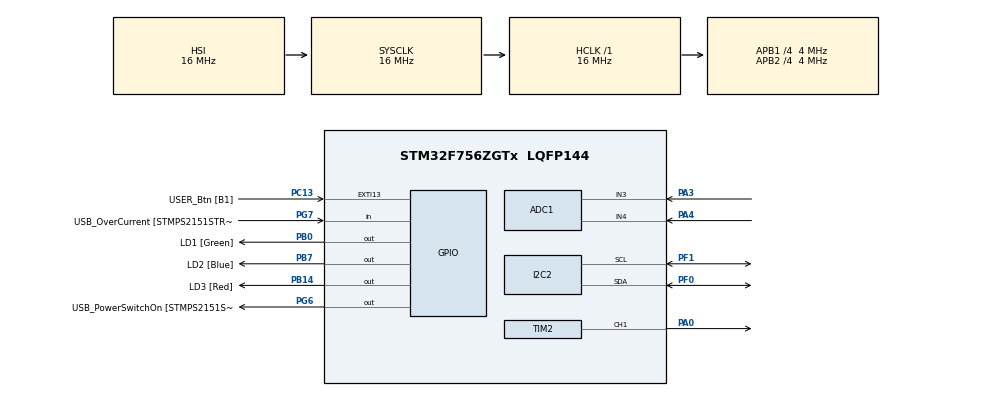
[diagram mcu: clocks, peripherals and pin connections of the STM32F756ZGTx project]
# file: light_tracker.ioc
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ADC1.Channel-0\#ChannelRegularConversion=ADC_CHANNEL_3
ADC1.Channel-2\#ChannelInjectedConversion=ADC_CHANNEL_3
ADC1.Channel-3\#ChannelInjectedConversion=ADC_CHANNEL_4
ADC1.EOCSelection=ADC_EOC_SEQ_CONV
ADC1.InjNumberOfConversion=2
ADC1.InjectedConvMode=Discontinuous
ADC1.InjectedOffset-2\#ChannelInjectedConversion=0
ADC1.InjectedOffset-3\#ChannelInjectedConversion=0
ADC1.InjectedRank-2\#ChannelInjectedConversion=1
ADC1.InjectedRank-3\#ChannelInjectedConversion=2
ADC1.NbrOfConversion=1
ADC1.NbrOfConversionFlag=1
ADC1.Rank-0\#ChannelRegularConversion=1
ADC1.SamplingTime-0\#ChannelRegularConversion=ADC_SAMPLETIME_3CYCLES
ADC1.SamplingTime-2\#ChannelInjectedConversion=ADC_SAMPLETIME_3CYCLES
ADC1.SamplingTime-3\#ChannelInjectedConversion=ADC_SAMPLETIME_3CYCLES
ADC1.ScanConvMode=ADC_SCAN_ENABLE
ADC1.master=1
I2C2.Timing=0x00000E14
Mcu.Family=STM32F7
Mcu.Name=STM32F756ZGTx
Mcu.Package=LQFP144
NVIC.ADC_IRQn=true\:0\:0\:false\:false\:true\:true\:true\:true
NVIC.PriorityGroup=NVIC_PRIORITYGROUP_4
NVIC.TIM2_IRQn=true\:0\:0\:false\:false\:true\:true\:true\:true
PA0/WKUP.Signal=S_TIM2_CH1_ETR
PA1.GPIO_Label=RMII_REF_CLK [LAN8742A-CZ-TR_REFCLK0]
PA1.Signal=ETH_REF_CLK
PA10.GPIO_Label=USB_ID
PA10.Signal=USB_OTG_FS_ID
PA11.GPIO_Label=USB_DM
PA11.Signal=USB_OTG_FS_DM
PA12.GPIO_Label=USB_DP
PA12.Signal=USB_OTG_FS_DP
PA13.GPIO_Label=TMS
PA13.Signal=SYS_JTMS-SWDIO
PA14.GPIO_Label=TCK
PA14.Signal=SYS_JTCK-SWCLK
PA2.GPIO_Label=RMII_MDIO [LAN8742A-CZ-TR_MDIO]
PA2.Signal=ETH_MDIO
PA3.Signal=ADCx_IN3
PA4.Signal=ADCx_IN4
PA7.GPIO_Label=RMII_CRS_DV [LAN8742A-CZ-TR_CRS_DV]
PA7.Signal=ETH_CRS_DV
PA8.GPIO_Label=USB_SOF [TP1]
PA8.Signal=USB_OTG_FS_SOF
PA9.GPIO_Label=USB_VBUS
PA9.Signal=USB_OTG_FS_VBUS
PB0.GPIO_Label=LD1 [Green]
PB0.Signal=GPIO_Output
PB13.GPIO_Label=RMII_TXD1 [LAN8742A-CZ-TR_TXD1]
PB13.Signal=ETH_TXD1
PB14.GPIO_Label=LD3 [Red]
PB14.Signal=GPIO_Output
PB3.GPIO_Label=SW0
PB3.Signal=SYS_JTDO-SWO
PB7.GPIO_Label=LD2 [Blue]
PB7.Signal=GPIO_Output
PB8.Signal=I2C1_SCL
PB9.Signal=I2C1_SDA
PC1.GPIO_Label=RMII_MDC [LAN8742A-CZ-TR_MDC]
PC1.Signal=ETH_MDC
PC13.GPIO_Label=USER_Btn [B1]
PC13.Signal=GPXTI13
PC14/OSC32_IN.Signal=RCC_OSC32_IN
PC15/OSC32_OUT.Signal=RCC_OSC32_OUT
PC4.GPIO_Label=RMII_RXD0 [LAN8742A-CZ-TR_RXD0]
PC4.Signal=ETH_RXD0
PC5.GPIO_Label=RMII_RXD1 [LAN8742A-CZ-TR_RXD1]
PC5.Signal=ETH_RXD1
PD8.GPIO_Label=STLK_RX [STM32F103CBT6_PA3]
PD8.Signal=USART3_TX
PD9.GPIO_Label=STLK_TX [STM32F103CBT6_PA2]
PD9.Signal=USART3_RX
PF0.Mode=I2C
PF0.Signal=I2C2_SDA
PF1.Mode=I2C
PF1.Signal=I2C2_SCL
PG11.GPIO_Label=RMII_TX_EN [LAN8742A-CZ-TR_TXEN]
PG11.Signal=ETH_TX_EN
PG13.GPIO_Label=RMII_TXD0 [LAN8742A-CZ-TR_TXD0]
PG13.Signal=ETH_TXD0
PG6.GPIO_Label=USB_PowerSwitchOn [STMPS2151STR_EN]
PG6.Signal=GPIO_Output
PG7.GPIO_Label=USB_OverCurrent [STMPS2151STR_FAULT]
PG7.Signal=GPIO_Input
PH0/OSC_IN.GPIO_Label=MCO [STM32F103CBT6_PA8]
PH0/OSC_IN.Signal=RCC_OSC_IN
PH1/OSC_OUT.Signal=RCC_OSC_OUT
ProjectManager.HeapSize=0x200
ProjectManager.StackSize=0x400
ProjectManager.TargetToolchain=STM32CubeIDE
RCC.48MHZClocksFreq_Value=24000000
RCC.AHBFreq_Value=16000000
RCC.APB1CLKDivider=RCC_HCLK_DIV4
RCC.APB1Freq_Value=4000000
RCC.APB1TimFreq_Value=8000000
RCC.APB2CLKDivider=RCC_HCLK_DIV4
RCC.APB2Freq_Value=4000000
RCC.APB2TimFreq_Value=8000000
RCC.CortexFreq_Value=16000000
RCC.HCLKFreq_Value=16000000
RCC.HSE_VALUE=8000000
RCC.HSI_VALUE=16000000
RCC.LSE_VALUE=32768
RCC.PLLMUL=RCC_PLL_MUL9
RCC.PRESCALERUSB=RCC_USBCLKSOURCE_PLL_DIV1_5
RCC.SYSCLKFreq_VALUE=16000000
RCC.SYSCLKSourceVirtual=RCC_SYSCLKSOURCE_PLLCLK
RCC.USBFreq_Value=96000000
RCC.VCOOutputFreq_Value=192000000
SH.ADCx_IN3.0=ADC1_IN3,IN3
SH.ADCx_IN4.0=ADC1_IN4,IN4
SH.S_TIM2_CH1_ETR.0=TIM2_CH1,PWM Generation1 CH1
TIM2.AutoReloadPreload=TIM_AUTORELOAD_PRELOAD_ENABLE
TIM2.Channel-PWM\ Generation1\ CH1=TIM_CHANNEL_1
TIM2.Period=19999
TIM2.Prescaler=7
TIM2.Pulse-PWM\ Generation1\ CH1=1500
VP_TIM2_VS_ClockSourceINT.Mode=Internal
board=NUCLEO-F756ZG

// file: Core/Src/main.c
/* USER CODE BEGIN Header */
/**
  ******************************************************************************
  * @file           : main.c
  * @brief          : Main program body
  ******************************************************************************
  * @attention
  *
  * Copyright (c) 2025 STMicroelectronics.
  * All rights reserved.
  *
  * This software is licensed under terms that can be found in the LICENSE file
  * in the root directory of this software component.
  * If no LICENSE file comes with this software, it is provided AS-IS.
  *
  ******************************************************************************
  */
/* USER CODE END Header */
#include "main.h"

/* USER CODE BEGIN Includes */
#include <stdlib.h>
#include "i2c_lcd_AIP31068.h"
/* USER CODE END Includes */

/* USER CODE BEGIN PD */
// Servo control defines
#define SERVO_MIN_US  (500u)
#define SERVO_MAX_US  (2500u)
#define ADC_READ_MASK (0x0FFF) // 12-bit ADC mask

// --- Dead-zone to prevent jitter ---
// If the absolute difference is less than this, do nothing.
// Adjust based on your sensor noise.
#define ADC_TOLERANCE (50)

// --- Proportional Control Gain (Kp) ---
// This scales the ADC difference (error) to a servo step.
// Kp = SERVO_KP_NUMERATOR / SERVO_KP_DENOMINATOR
// A larger Kp (e.g., 1/30) makes the tracker faster/more aggressive.
// A smaller Kp (e.g., 1/50) makes the tracker slower/smoother.
// Start with 1/40.
#define SERVO_KP_NUMERATOR   (1)
#define SERVO_KP_DENOMINATOR (40)

/* USER CODE END PD */

ADC_HandleTypeDef hadc1;

I2C_HandleTypeDef hi2c2;

TIM_HandleTypeDef htim2;

/* USER CODE BEGIN PV */
// Flag set by ADC interrupt when conversions are done
volatile uint32_t conversion_flag = 0;

// 'position' doesn't need to be volatile, as it's not used in the ISR.
// uint16_t is sufficient for pulse widths (500-2500).
// Initialize to the center position (1500us is default PWM pulse).
static uint16_t position = 1500;
/* USER CODE END PV */

void SystemClock_Config(void);
static void MX_GPIO_Init(void);
static void MX_ADC1_Init(void);
static void MX_TIM2_Init(void);
static void MX_I2C2_Init(void);

/* USER CODE BEGIN 0 */

// Servo control function (from original code)
// This function already provides "safety" clamping.
static inline void Servo_SetPulseUS(uint16_t us)
{
  if (us < SERVO_MIN_US) us = SERVO_MIN_US;
  if (us > SERVO_MAX_US) us = SERVO_MAX_US;
  __HAL_TIM_SET_COMPARE(&htim2, TIM_CHANNEL_1, us);
}

// ADC Injected Conversion Complete Callback
// This ISR sets the flag for the main loop to process the data.
void HAL_ADCEx_InjectedConvCpltCallback(ADC_HandleTypeDef* hadc)
{
	conversion_flag = 1;
}

/* USER CODE END 0 */

int main(void)
{

  /* MCU Configuration--------------------------------------------------------*/

  /* Reset of all peripherals, Initializes the Flash interface and the Systick. */
  HAL_Init();

  /* Configure the system clock */
  SystemClock_Config();

  /* Initialize all configured peripherals */
  MX_GPIO_Init();
  MX_ADC1_Init();
  MX_TIM2_Init();
  MX_I2C2_Init();
  /* USER CODE BEGIN 2 */

  // Start PWM output for TIM2 Channel 1 (servo)
  HAL_TIM_PWM_Start(&htim2, TIM_CHANNEL_1);
  GROVE_LCD_Init(&hi2c2);
  GROVE_LCD_WriteString("Hello World");
  // Explicitly set the servo to its initial center position
  // (Matches the 'position' variable and the timer's 'Pulse' setting)
  Servo_SetPulseUS(position);

  // Start the first ADC conversion with interrupt
  HAL_ADCEx_InjectedStart_IT(&hadc1);

  // Use uint16_t for 12-bit ADC results
  uint16_t sensor_left = 0;
  uint16_t sensor_right = 0;

  /* USER CODE END 2 */

  /* Infinite loop */
  while (1)
  {

    /* USER CODE BEGIN 3 */

	      // Check if the ADC has finished converting
	      if (conversion_flag)
	      {
	      	conversion_flag = 0; // Clear the flag immediately

	      	// 1. Read the sensor values
	        // RANK_1 = ADC_CHANNEL_3 = sensor_right
	        // RANK_2 = ADC_CHANNEL_4 = sensor_left
	      	sensor_right = (uint16_t)(HAL_ADCEx_InjectedGetValue(&hadc1, ADC_INJECTED_RANK_1) & ADC_READ_MASK);
	      	sensor_left  = (uint16_t)(HAL_ADCEx_InjectedGetValue(&hadc1, ADC_INJECTED_RANK_2) & ADC_READ_MASK);

	        // 2. Calculate the error (difference)
	        // A positive 'diff' means Left is brighter.
	        // A negative 'diff' means Right is brighter.
	        int32_t diff = (int32_t)sensor_left - (int32_t)sensor_right;

	      	// 3. Apply Proportional Control logic with tolerance (dead-zone)
	          // Only make a move if the difference is outside the noise tolerance.
	      	if (abs(diff) > ADC_TOLERANCE)
	      	{
	      		// Calculate the adjustment step.
	              // The step is proportional to the error (diff).
	      		int32_t step = (diff * SERVO_KP_NUMERATOR) / SERVO_KP_DENOMINATOR;

	            // Apply the step
	            // - If diff is positive (light is left), step is positive. We subtract to move left.
	            // - If diff is negative (light is right), step is negative. We subtract a negative (add) to move right.
	      		position -= step;
	      	}
	          // else: (abs(diff) <= ADC_TOLERANCE)
	          // Sensors are roughly equal, do nothing to prevent jitter.

	          // 4. Clamp the position variable itself
	          // This prevents 'position' from "winding up" past the limits.
	          if (position < SERVO_MIN_US)
	          {
	              position = SERVO_MIN_US;
	          }
	          if (position > SERVO_MAX_US)
	          {
	              position = SERVO_MAX_US;
	          }

	      	// 5. Update the servo's physical position
	      	Servo_SetPulseUS(position);

	          // 6. Wait 10ms to let the servo move and stabilize before sampling again.
	          // This is a simple and effective way to dampen the system.
	      	HAL_Delay(10);

	      	// 7. Start the next ADC conversion
	      	HAL_ADCEx_InjectedStart_IT(&hadc1);
	      }
	    }
  /* USER CODE END 3 */
}

void SystemClock_Config(void)
{
  RCC_OscInitTypeDef RCC_OscInitStruct = {0};
  RCC_ClkInitTypeDef RCC_ClkInitStruct = {0};

  /** Configure the main internal regulator output voltage
  */
  __HAL_RCC_PWR_CLK_ENABLE();
  __HAL_PWR_VOLTAGESCALING_CONFIG(PWR_REGULATOR_VOLTAGE_SCALE3);

  /** Initializes the RCC Oscillators according to the specified parameters
  * in the RCC_OscInitTypeDef structure.
  */
  RCC_OscInitStruct.OscillatorType = RCC_OSCILLATORTYPE_HSI;
  RCC_OscInitStruct.HSIState = RCC_HSI_ON;
  RCC_OscInitStruct.HSICalibrationValue = RCC_HSICALIBRATION_DEFAULT;
  RCC_OscInitStruct.PLL.PLLState = RCC_PLL_NONE;
  if (HAL_RCC_OscConfig(&RCC_OscInitStruct) != HAL_OK)
  {
    Error_Handler();
  }

  /** Initializes the CPU, AHB and APB buses clocks
  */
  RCC_ClkInitStruct.ClockType = RCC_CLOCKTYPE_HCLK|RCC_CLOCKTYPE_SYSCLK
                              |RCC_CLOCKTYPE_PCLK1|RCC_CLOCKTYPE_PCLK2;
  RCC_ClkInitStruct.SYSCLKSource = RCC_SYSCLKSOURCE_HSI;
  RCC_ClkInitStruct.AHBCLKDivider = RCC_SYSCLK_DIV1;
  RCC_ClkInitStruct.APB1CLKDivider = RCC_HCLK_DIV4;
  RCC_ClkInitStruct.APB2CLKDivider = RCC_HCLK_DIV4;

  if (HAL_RCC_ClockConfig(&RCC_ClkInitStruct, FLASH_LATENCY_0) != HAL_OK)
  {
    Error_Handler();
  }
}

static void MX_ADC1_Init(void)
{

  ADC_ChannelConfTypeDef sConfig = {0};
  ADC_InjectionConfTypeDef sConfigInjected = {0};

  /** Configure the global features of the ADC (Clock, Resolution, Data Alignment and number of conversion)
  */
  hadc1.Instance = ADC1;
  hadc1.Init.ClockPrescaler = ADC_CLOCK_SYNC_PCLK_DIV2;
  hadc1.Init.Resolution = ADC_RESOLUTION_12B;
  hadc1.Init.ScanConvMode = ADC_SCAN_ENABLE;
  hadc1.Init.ContinuousConvMode = DISABLE;
  hadc1.Init.DiscontinuousConvMode = DISABLE;
  hadc1.Init.ExternalTrigConvEdge = ADC_EXTERNALTRIGCONVEDGE_NONE;
  hadc1.Init.ExternalTrigConv = ADC_SOFTWARE_START;
  hadc1.Init.DataAlign = ADC_DATAALIGN_RIGHT;
  hadc1.Init.NbrOfConversion = 1;
  hadc1.Init.DMAContinuousRequests = DISABLE;
  hadc1.Init.EOCSelection = ADC_EOC_SEQ_CONV;
  if (HAL_ADC_Init(&hadc1) != HAL_OK)
  {
    Error_Handler();
  }

  /** Configure for the selected ADC regular channel its corresponding rank in the sequencer and its sample time.
  */
  sConfig.Channel = ADC_CHANNEL_3;
  sConfig.Rank = ADC_REGULAR_RANK_1;
  sConfig.SamplingTime = ADC_SAMPLETIME_3CYCLES;
  if (HAL_ADC_ConfigChannel(&hadc1, &sConfig) != HAL_OK)
  {
    Error_Handler();
  }

  /** Configures for the selected ADC injected channel its corresponding rank in the sequencer and its sample time
  */
  sConfigInjected.InjectedChannel = ADC_CHANNEL_3;
  sConfigInjected.InjectedRank = ADC_INJECTED_RANK_1;
  sConfigInjected.InjectedNbrOfConversion = 2;
  sConfigInjected.InjectedSamplingTime = ADC_SAMPLETIME_3CYCLES;
  sConfigInjected.ExternalTrigInjecConvEdge = ADC_EXTERNALTRIGINJECCONVEDGE_NONE;
  sConfigInjected.ExternalTrigInjecConv = ADC_INJECTED_SOFTWARE_START;
  sConfigInjected.AutoInjectedConv = DISABLE;
  sConfigInjected.InjectedDiscontinuousConvMode = ENABLE;
  sConfigInjected.InjectedOffset = 0;
  if (HAL_ADCEx_InjectedConfigChannel(&hadc1, &sConfigInjected) != HAL_OK)
  {
    Error_Handler();
  }

  /** Configures for the selected ADC injected channel its corresponding rank in the sequencer and its sample time
  */
  sConfigInjected.InjectedChannel = ADC_CHANNEL_4;
  sConfigInjected.InjectedRank = ADC_INJECTED_RANK_2;
  if (HAL_ADCEx_InjectedConfigChannel(&hadc1, &sConfigInjected) != HAL_OK)
  {
    Error_Handler();
  }

}

static void MX_I2C2_Init(void)
{

  hi2c2.Instance = I2C2;
  hi2c2.Init.Timing = 0x00000E14;
  hi2c2.Init.OwnAddress1 = 0;
  hi2c2.Init.AddressingMode = I2C_ADDRESSINGMODE_7BIT;
  hi2c2.Init.DualAddressMode = I2C_DUALADDRESS_DISABLE;
  hi2c2.Init.OwnAddress2 = 0;
  hi2c2.Init.OwnAddress2Masks = I2C_OA2_NOMASK;
  hi2c2.Init.GeneralCallMode = I2C_GENERALCALL_DISABLE;
  hi2c2.Init.NoStretchMode = I2C_NOSTRETCH_DISABLE;
  if (HAL_I2C_Init(&hi2c2) != HAL_OK)
  {
    Error_Handler();
  }

  /** Configure Analogue filter
  */
  if (HAL_I2CEx_ConfigAnalogFilter(&hi2c2, I2C_ANALOGFILTER_ENABLE) != HAL_OK)
  {
    Error_Handler();
  }

  /** Configure Digital filter
  */
  if (HAL_I2CEx_ConfigDigitalFilter(&hi2c2, 0) != HAL_OK)
  {
    Error_Handler();
  }

}

static void MX_TIM2_Init(void)
{

  TIM_ClockConfigTypeDef sClockSourceConfig = {0};
  TIM_MasterConfigTypeDef sMasterConfig = {0};
  TIM_OC_InitTypeDef sConfigOC = {0};

  htim2.Instance = TIM2;
  htim2.Init.Prescaler = 7;
  htim2.Init.CounterMode = TIM_COUNTERMODE_UP;
  htim2.Init.Period = 19999;
  htim2.Init.ClockDivision = TIM_CLOCKDIVISION_DIV1;
  htim2.Init.AutoReloadPreload = TIM_AUTORELOAD_PRELOAD_ENABLE;
  if (HAL_TIM_Base_Init(&htim2) != HAL_OK)
  {
    Error_Handler();
  }
  sClockSourceConfig.ClockSource = TIM_CLOCKSOURCE_INTERNAL;
  if (HAL_TIM_ConfigClockSource(&htim2, &sClockSourceConfig) != HAL_OK)
  {
    Error_Handler();
  }
  if (HAL_TIM_PWM_Init(&htim2) != HAL_OK)
  {
    Error_Handler();
  }
  sMasterConfig.MasterOutputTrigger = TIM_TRGO_RESET;
  sMasterConfig.MasterSlaveMode = TIM_MASTERSLAVEMODE_DISABLE;
  if (HAL_TIMEx_MasterConfigSynchronization(&htim2, &sMasterConfig) != HAL_OK)
  {
    Error_Handler();
  }
  sConfigOC.OCMode = TIM_OCMODE_PWM1;
  sConfigOC.Pulse = 1500;
  sConfigOC.OCPolarity = TIM_OCPOLARITY_HIGH;
  sConfigOC.OCFastMode = TIM_OCFAST_DISABLE;
  if (HAL_TIM_PWM_ConfigChannel(&htim2, &sConfigOC, TIM_CHANNEL_1) != HAL_OK)
  {
    Error_Handler();
  }
  HAL_TIM_MspPostInit(&htim2);

}

static void MX_GPIO_Init(void)
{
  GPIO_InitTypeDef GPIO_InitStruct = {0};

  /* GPIO Ports Clock Enable */
  __HAL_RCC_GPIOC_CLK_ENABLE();
  __HAL_RCC_GPIOF_CLK_ENABLE();
  __HAL_RCC_GPIOH_CLK_ENABLE();
  __HAL_RCC_GPIOA_CLK_ENABLE();
  __HAL_RCC_GPIOB_CLK_ENABLE();
  __HAL_RCC_GPIOD_CLK_ENABLE();
  __HAL_RCC_GPIOG_CLK_ENABLE();

  /*Configure GPIO pin Output Level */
  HAL_GPIO_WritePin(GPIOB, LD1_Pin|LD3_Pin|LD2_Pin, GPIO_PIN_RESET);

  /*Configure GPIO pin Output Level */
  HAL_GPIO_WritePin(USB_PowerSwitchOn_GPIO_Port, USB_PowerSwitchOn_Pin, GPIO_PIN_RESET);

  /*Configure GPIO pin : USER_Btn_Pin */
  GPIO_InitStruct.Pin = USER_Btn_Pin;
  GPIO_InitStruct.Mode = GPIO_MODE_IT_RISING;
  GPIO_InitStruct.Pull = GPIO_NOPULL;
  HAL_GPIO_Init(USER_Btn_GPIO_Port, &GPIO_InitStruct);

  /*Configure GPIO pins : RMII_MDC_Pin RMII_RXD0_Pin RMII_RXD1_Pin */
  GPIO_InitStruct.Pin = RMII_MDC_Pin|RMII_RXD0_Pin|RMII_RXD1_Pin;
  GPIO_InitStruct.Mode = GPIO_MODE_AF_PP;
  GPIO_InitStruct.Pull = GPIO_NOPULL;
  GPIO_InitStruct.Speed = GPIO_SPEED_FREQ_VERY_HIGH;
  GPIO_InitStruct.Alternate = GPIO_AF11_ETH;
  HAL_GPIO_Init(GPIOC, &GPIO_InitStruct);

  /*Configure GPIO pins : RMII_REF_CLK_Pin RMII_MDIO_Pin RMII_CRS_DV_Pin */
  GPIO_InitStruct.Pin = RMII_REF_CLK_Pin|RMII_MDIO_Pin|RMII_CRS_DV_Pin;
  GPIO_InitStruct.Mode = GPIO_MODE_AF_PP;
  GPIO_InitStruct.Pull = GPIO_NOPULL;
  GPIO_InitStruct.Speed = GPIO_SPEED_FREQ_VERY_HIGH;
  GPIO_InitStruct.Alternate = GPIO_AF11_ETH;
  HAL_GPIO_Init(GPIOA, &GPIO_InitStruct);

  /*Configure GPIO pins : LD1_Pin LD3_Pin LD2_Pin */
  GPIO_InitStruct.Pin = LD1_Pin|LD3_Pin|LD2_Pin;
  GPIO_InitStruct.Mode = GPIO_MODE_OUTPUT_PP;
  GPIO_InitStruct.Pull = GPIO_NOPULL;
  GPIO_InitStruct.Speed = GPIO_SPEED_FREQ_LOW;
  HAL_GPIO_Init(GPIOB, &GPIO_InitStruct);

  /*Configure GPIO pin : RMII_TXD1_Pin */
  GPIO_InitStruct.Pin = RMII_TXD1_Pin;
  GPIO_InitStruct.Mode = GPIO_MODE_AF_PP;
  GPIO_InitStruct.Pull = GPIO_NOPULL;
  GPIO_InitStruct.Speed = GPIO_SPEED_FREQ_VERY_HIGH;
  GPIO_InitStruct.Alternate = GPIO_AF11_ETH;
  HAL_GPIO_Init(RMII_TXD1_GPIO_Port, &GPIO_InitStruct);

  /*Configure GPIO pins : STLK_RX_Pin STLK_TX_Pin */
  GPIO_InitStruct.Pin = STLK_RX_Pin|STLK_TX_Pin;
  GPIO_InitStruct.Mode = GPIO_MODE_AF_PP;
  GPIO_InitStruct.Pull = GPIO_NOPULL;
  GPIO_InitStruct.Speed = GPIO_SPEED_FREQ_VERY_HIGH;
  GPIO_InitStruct.Alternate = GPIO_AF7_USART3;
  HAL_GPIO_Init(GPIOD, &GPIO_InitStruct);

  /*Configure GPIO pin : USB_PowerSwitchOn_Pin */
  GPIO_InitStruct.Pin = USB_PowerSwitchOn_Pin;
  GPIO_InitStruct.Mode = GPIO_MODE_OUTPUT_PP;
  GPIO_InitStruct.Pull = GPIO_NOPULL;
  GPIO_InitStruct.Speed = GPIO_SPEED_FREQ_LOW;
  HAL_GPIO_Init(USB_PowerSwitchOn_GPIO_Port, &GPIO_InitStruct);

  /*Configure GPIO pin : USB_OverCurrent_Pin */
  GPIO_InitStruct.Pin = USB_OverCurrent_Pin;
  GPIO_InitStruct.Mode = GPIO_MODE_INPUT;
  GPIO_InitStruct.Pull = GPIO_NOPULL;
  HAL_GPIO_Init(USB_OverCurrent_GPIO_Port, &GPIO_InitStruct);

  /*Configure GPIO pins : USB_SOF_Pin USB_ID_Pin USB_DM_Pin USB_DP_Pin */
  GPIO_InitStruct.Pin = USB_SOF_Pin|USB_ID_Pin|USB_DM_Pin|USB_DP_Pin;
  GPIO_InitStruct.Mode = GPIO_MODE_AF_PP;
  GPIO_InitStruct.Pull = GPIO_NOPULL;
  GPIO_InitStruct.Speed = GPIO_SPEED_FREQ_VERY_HIGH;
  GPIO_InitStruct.Alternate = GPIO_AF10_OTG_FS;
  HAL_GPIO_Init(GPIOA, &GPIO_InitStruct);

  /*Configure GPIO pin : USB_VBUS_Pin */
  GPIO_InitStruct.Pin = USB_VBUS_Pin;
  GPIO_InitStruct.Mode = GPIO_MODE_INPUT;
  GPIO_InitStruct.Pull = GPIO_NOPULL;
  HAL_GPIO_Init(USB_VBUS_GPIO_Port, &GPIO_InitStruct);

  /*Configure GPIO pins : RMII_TX_EN_Pin RMII_TXD0_Pin */
  GPIO_InitStruct.Pin = RMII_TX_EN_Pin|RMII_TXD0_Pin;
  GPIO_InitStruct.Mode = GPIO_MODE_AF_PP;
  GPIO_InitStruct.Pull = GPIO_NOPULL;
  GPIO_InitStruct.Speed = GPIO_SPEED_FREQ_VERY_HIGH;
  GPIO_InitStruct.Alternate = GPIO_AF11_ETH;
  HAL_GPIO_Init(GPIOG, &GPIO_InitStruct);

  /*Configure GPIO pins : PB8 PB9 */
  GPIO_InitStruct.Pin = GPIO_PIN_8|GPIO_PIN_9;
  GPIO_InitStruct.Mode = GPIO_MODE_AF_OD;
  GPIO_InitStruct.Pull = GPIO_NOPULL;
  GPIO_InitStruct.Speed = GPIO_SPEED_FREQ_VERY_HIGH;
  GPIO_InitStruct.Alternate = GPIO_AF4_I2C1;
  HAL_GPIO_Init(GPIOB, &GPIO_InitStruct);

}

void Error_Handler(void)
{
  __disable_irq();
  while (1)
  {
  }
}
